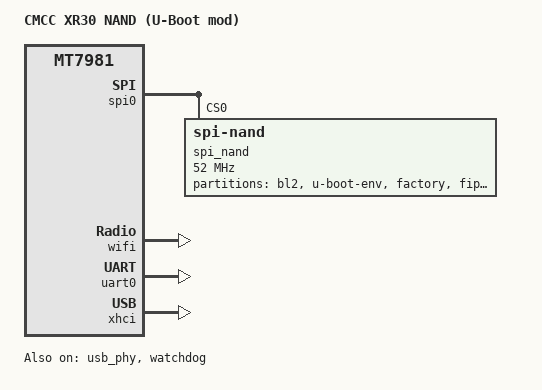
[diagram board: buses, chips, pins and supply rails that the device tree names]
// SPDX-License-Identifier: GPL-2.0-or-later OR MIT
/dts-v1/;
#include "mt7981b-cmcc-xr30.dtsi"

 / {
	model = "CMCC XR30 NAND (U-Boot mod)";
	compatible = "cmcc,xr30-nand", "mediatek,mt7981";

	aliases {
		led-boot = &red_led;
		led-failsafe = &red_led;
		led-running = &green_led;
		led-upgrade = &green_led;
		serial0 = &uart0;
	};
};

&gmac0 {
	nvmem-cells = <&macaddr_factory_2a>;
	nvmem-cell-names = "mac-address";
};

&gmac1 {
	nvmem-cells = <&macaddr_factory_24>;
	nvmem-cell-names = "mac-address";
};

&spi0 {
	pinctrl-names = "default";
	pinctrl-0 = <&spi0_flash_pins>;
	status = "okay";

	spi_nand@0 {
		#address-cells = <1>;
		#size-cells = <0>;
		compatible = "spi-nand";
		reg = <0>;

		spi-max-frequency = <52000000>;
		spi-tx-bus-width = <4>;
		spi-rx-bus-width = <4>;

		partitions {
			compatible = "fixed-partitions";
			#address-cells = <1>;
			#size-cells = <1>;

			partition@0 {
				label = "bl2";
				reg = <0x00000 0x0100000>;
				read-only;
			};

			partition@100000 {
				label = "u-boot-env";
				reg = <0x100000 0x80000>;
			};

			factory: partition@180000 {
				label = "factory";
				reg = <0x180000 0x200000>;
				read-only;

				nvmem-layout {
					compatible = "fixed-layout";
					#address-cells = <1>;
					#size-cells = <1>;

					macaddr_factory_24: macaddr@24 {
						reg = <0x24 0x6>;
					};

					macaddr_factory_2a: macaddr@2a {
						reg = <0x2a 0x6>;
					};
				};
			};

			partition@380000 {
				label = "fip";
				reg = <0x380000 0x200000>;
				read-only;
			};

			partition@580000 {
				label = "ubi";
				reg = <0x580000 0x7200000>;
				compatible = "linux,ubi";
			};
		};
	};
};

&wifi { status = "okay"; };
&uart0 { status = "okay"; };
&usb_phy { status = "okay"; };
&watchdog { status = "okay"; };
&xhci { status = "okay"; };
